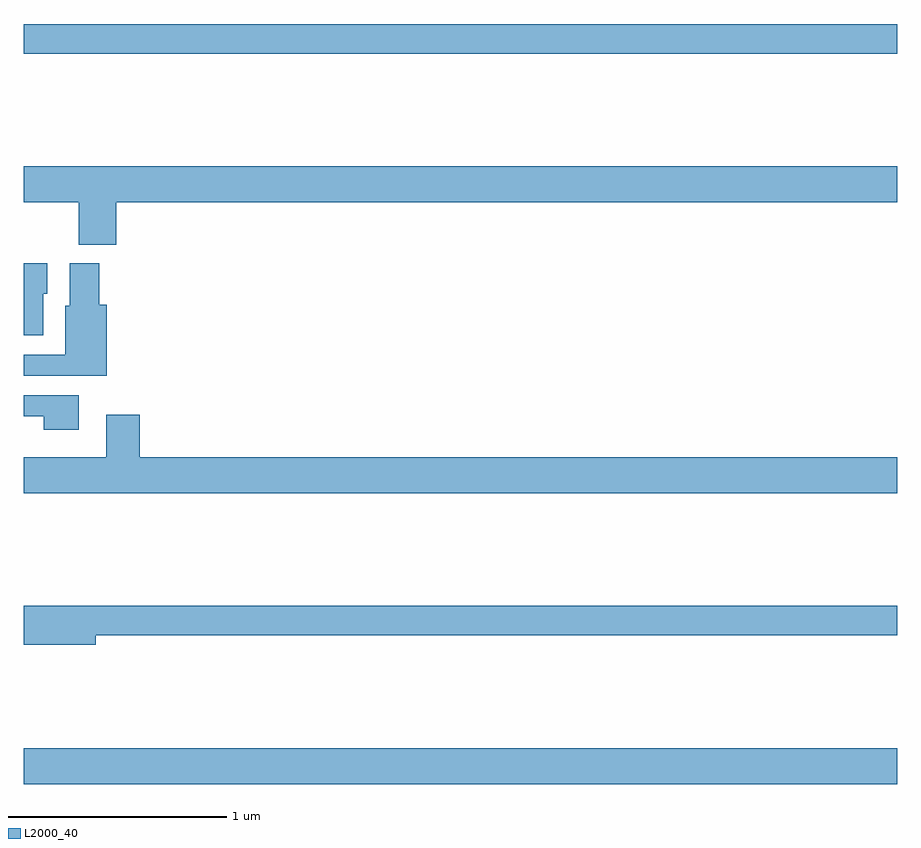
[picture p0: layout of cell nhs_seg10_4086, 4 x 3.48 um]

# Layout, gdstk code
import gdstk
lib = gdstk.Library(unit=1e-6, precision=1e-09)
def R(c, l, rs):  # rectangles x0, y0, x1, y1
    for r in rs: c.add(gdstk.rectangle(r[:2], r[2:], *l))
def P(c, l, *ps):  # polygons
    for p in ps: c.add(gdstk.Polygon(p, *l))
L2000_40 = (2000, 40)

nhs_seg10_4086 = lib.new_cell('nhs_seg10_4086')
R(nhs_seg10_4086, L2000_40, [(337,1314.968,341,1315.132), (337,1318.312,341,1318.448)])
P(nhs_seg10_4086, L2000_40, [(337.424,1317.632),(341,1317.632),(341,1317.796),(337,1317.796),(337,1317.632),(337.252,1317.632),(337.252,1317.437),(337.424,1317.437)],
  [(337.09,1317.213),(337.108,1317.213),(337.108,1317.352),(337,1317.352),(337,1317.023),(337.09,1317.023)],
  [(337.381,1317.163),(337.346,1317.163),(337.346,1317.352),(337.211,1317.352),(337.211,1317.159),(337.19,1317.159),(337.19,1316.934),(337,1316.934),(337,1316.838),(337.381,1316.838)],
  [(337.252,1316.748),(337,1316.748),(337,1316.652),(337.091,1316.652),(337.091,1316.589),(337.252,1316.589)],
  [(341,1316.464),(337.532,1316.464),(337.532,1316.659),(337.379,1316.659),(337.379,1316.464),(337,1316.464),(337,1316.3),(341,1316.3)],
  [(337.33,1315.648),(341,1315.648),(341,1315.784),(337,1315.784),(337,1315.606),(337.33,1315.606)])

lib.write_gds('nhs_seg10_4086.gds')
